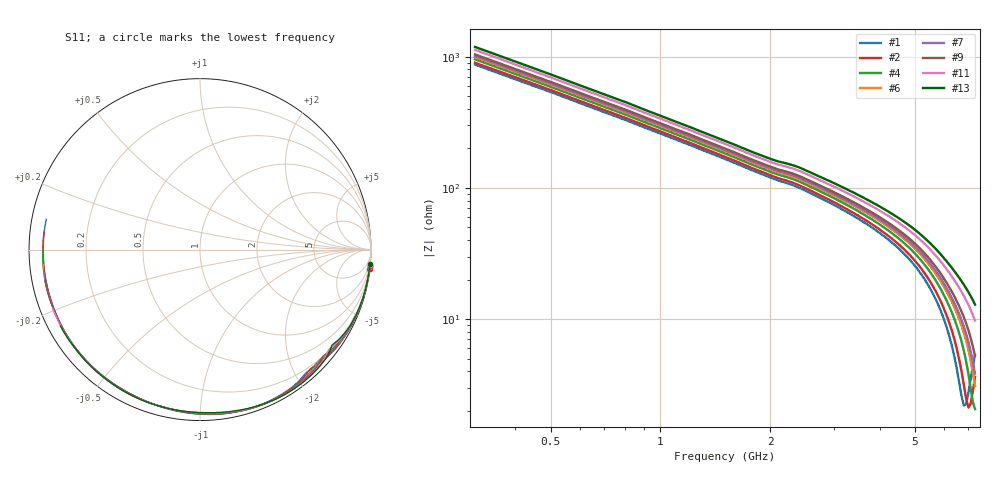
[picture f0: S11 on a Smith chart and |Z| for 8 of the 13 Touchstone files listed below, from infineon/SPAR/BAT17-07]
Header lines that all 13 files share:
! Infineon Technologies  Discrete & RF Semiconductors
! BAT17-07
! One-Port S-Parameters
# Hz  S  MA  R  50
!f  S11
!Hz  Mag  Ang
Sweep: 309.9 MHz to 7.306 GHz
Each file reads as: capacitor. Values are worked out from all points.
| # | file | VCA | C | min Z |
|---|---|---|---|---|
| 1 | BAT17-07_VCA_0.1V.s1p | 0.1 V | 590 fF | 2.2 ohm |
| 2 | BAT17-07_VCA_0.2V.s1p | 0.2 V | 569 fF | 2.12 ohm |
| 3 | BAT17-07_VCA_0.3V.s1p | 0.3 V | 551 fF | 2.09 ohm |
| 4 | BAT17-07_VCA_0.4V.s1p | 0.4 V | 539 fF | 2.06 ohm |
| 5 | BAT17-07_VCA_0.5V.s1p | 0.5 V | 527 fF | 2.41 ohm |
| 6 | BAT17-07_VCA_0.6V.s1p | 0.6 V | 519 fF | 3.1 ohm |
| 7 | BAT17-07_VCA_0.7V.s1p | 0.7 V | 509 fF | 3.85 ohm |
| 8 | BAT17-07_VCA_0.8V.s1p | 0.8 V | 501 fF | 4.57 ohm |
| 9 | BAT17-07_VCA_0.9V.s1p | 0.9 V | 495 fF | 5.24 ohm |
| 10 | BAT17-07_VCA_1V.s1p | 1 V | 489 fF | 5.85 ohm |
| 11 | BAT17-07_VCA_2V.s1p | 2 V | 457 fF | 9.74 ohm |
| 12 | BAT17-07_VCA_3V.s1p | 3 V | 443 fF | 11.7 ohm |
| 13 | BAT17-07_VCA_4V.s1p | 4 V | 434 fF | 12.9 ohm |
